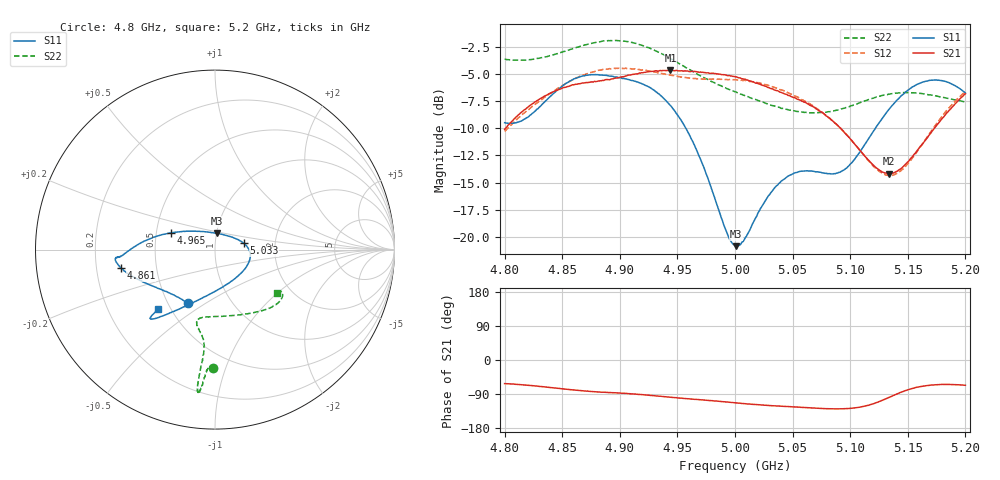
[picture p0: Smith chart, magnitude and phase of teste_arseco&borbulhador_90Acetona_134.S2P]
! Network Analyzer HP8722D
! Hewlett-Packard
! Data name: Linha & Wilkinson
! Saver's name: Rodrigo Anjos
! Comments: Teste da utilização de aquisição
! continua pelo VNA HP8722D
! Time and date: 17/4/2025 12:10
!  Frequency  S11  S21  S12  S22
# HZ  S  MA R 50
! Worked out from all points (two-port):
!   401 points, 4.8 GHz to 5.2 GHz, reference 50 ohm
!   highest |S21| = -4.66 dB at 4.944 GHz (marker M1); lowest = -14.2 dB at 5.134 GHz (marker M2)
!   |S21| within 3 dB of the highest: 4.825 GHz to 5.062 GHz (236.5 MHz wide, 4.78 % of centre); 5.191896 GHz to end of sweep
!   lowest |S11| = -20.8 dB at 5.001 GHz (marker M3), VSWR 1.20, Z = 50.5 + j9.15 ohm
!   |S11| at or under -10 dB: 4.957 GHz to 5.122 GHz (164.5 MHz wide, 3.26 % of centre)
!   |S22| runs from -8.6 to -1.9 dB; largest |S21 - S12| = 0.88
!   S11 on the Smith chart (normalised r, x): 4.8 GHz: 0.63, -0.42; 4.861 GHz: 0.31, -0.09; 4.965 GHz: 0.60, +0.12; 5.033 GHz: 1.38, +0.10; 5.2 GHz: 0.43, -0.36
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4.8e9  0.3356 -117.0  0.313 -62.4  0.3063 -176.6  0.6581 -90.9
4.819e9  0.3535 -137.3  0.391 -66.3  0.3789 -176.0  0.6529 -92.6
4.861e9  0.5352 -169.1  0.5029 -79.4  0.5352 -179.4  0.7398 -95.2
4.867e9  0.5486 -171.5  0.5104 -81.2  0.5525 179.6  0.7587 -95.3
4.899e9  0.5405 -175.5  0.5399 -87.2  0.5974 173.3  0.7995 -96.8
4.934e9  0.4551 178.4  0.5802 -95.6  0.5712 170.2  0.706 -97.2
4.944e9  0.4029 173.7  0.5845 -98.2  0.555 170.4  0.6634 -96.8
4.965e9  0.263 159.3  0.5774 -103.9  0.5356 172.2  0.5703 -96.3
4.993e9  0.1045 111.0  0.5533 -111.0  0.5302 174.4  0.4815 -98.9
5e9  0.09136 85.9  0.5463 -112.9  0.5294 174.5  0.4655 -100.3
5.001e9  0.09077 81.7  0.5454 -113.2  0.5294 174.5  0.4645 -100.6
5.009e9  0.09943 54.1  0.5316 -115.3  0.5245 174.4  0.446 -102.2
5.033e9  0.1646 12.3  0.4792 -120.7  0.4897 173.0  0.4016 -103.9
5.05e9  0.1949 -3.8  0.4405 -123.6  0.4506 172.5  0.3807 -99.0
5.067e9  0.2009 -22.3  0.3989 -126.4  0.404 172.3  0.3727 -89.3
5.096e9  0.2063 -73.0  0.2986 -128.4  0.299 174.5  0.3936 -66.6
5.121e9  0.311 -111.3  0.2117 -114.5  0.2097 -169.5  0.4373 -49.8
5.134e9  0.3884 -121.3  0.1956 -98.3  0.1915 -151.4  0.4544 -43.4
5.148e9  0.4645 -127.8  0.2159 -80.8  0.2111 -130.8  0.4615 -38.2
5.167e9  0.5213 -132.2  0.2861 -67.3  0.2897 -113.9  0.4524 -33.5
5.183e9  0.519 -133.7  0.3672 -64.5  0.3776 -108.9  0.4358 -32.3
5.2e9  0.4591 -133.7  0.456 -66.7  0.4647 -108.8  0.418 -34.9
